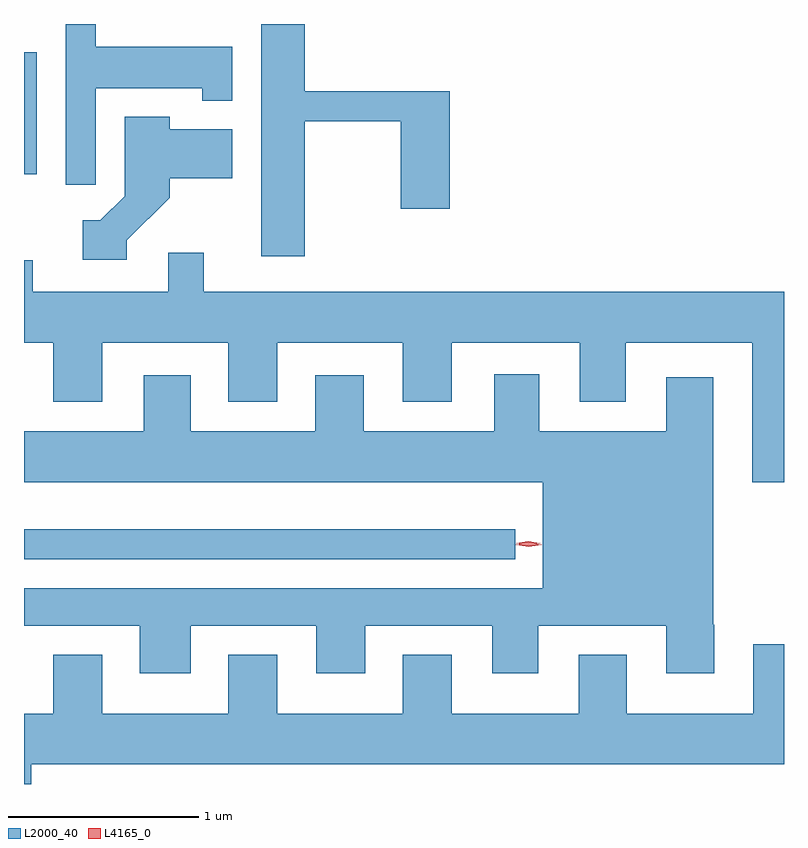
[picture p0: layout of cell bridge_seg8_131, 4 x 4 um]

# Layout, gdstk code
import gdstk
lib = gdstk.Library(unit=1e-6, precision=1e-09)
def R(c, l, rs):  # rectangles x0, y0, x1, y1
    for r in rs: c.add(gdstk.rectangle(r[:2], r[2:], *l))
def P(c, l, *ps):  # polygons
    for p in ps: c.add(gdstk.Polygon(p, *l))
L2000_40 = (2000, 40)
L4165_0 = (4165, 0)

bridge_seg8_131 = lib.new_cell('bridge_seg8_131')
R(bridge_seg8_131, L2000_40, [(1824.262,1828.616,1826.848,1828.774), (1824.262,1830.641,1824.329,1831.284)])
P(bridge_seg8_131, L2000_40, [(1824.639,1831.096),(1825.201,1831.096),(1825.201,1831.028),(1825.359,1831.028),(1825.359,1831.314),(1824.639,1831.314),(1824.639,1831.433),(1824.481,1831.433),(1824.481,1830.588),(1824.639,1830.588)],
  [(1825.739,1830.921),(1826.246,1830.921),(1826.246,1830.461),(1826.504,1830.461),(1826.504,1831.079),(1825.739,1831.079),(1825.739,1831.433),(1825.511,1831.433),(1825.511,1830.211),(1825.739,1830.211)],
  [(1824.804,1830.294),(1825.029,1830.519),(1825.029,1830.621),(1825.359,1830.621),(1825.359,1830.879),(1825.029,1830.879),(1825.029,1830.944),(1824.791,1830.944),(1824.791,1830.527),(1824.664,1830.399),(1824.571,1830.399),(1824.571,1830.191),(1824.804,1830.191)],
  [(1828.262,1830.024),(1825.209,1830.024),(1825.209,1830.229),(1825.021,1830.229),(1825.021,1830.024),(1824.309,1830.024),(1824.309,1830.189),(1824.262,1830.189),(1824.262,1829.756),(1824.416,1829.756),(1824.416,1829.446),(1824.674,1829.446),(1824.674,1829.756),(1825.336,1829.756),(1825.336,1829.446),(1825.594,1829.446),(1825.594,1829.756),(1826.256,1829.756),(1826.256,1829.446),(1826.514,1829.446),(1826.514,1829.756),(1827.186,1829.756),(1827.186,1829.446),(1827.429,1829.446),(1827.429,1829.756),(1828.096,1829.756),(1828.096,1829.021),(1828.262,1829.021)],
  [(1825.139,1828.266),(1825.801,1828.266),(1825.801,1828.016),(1826.059,1828.016),(1826.059,1828.266),(1826.726,1828.266),(1826.726,1828.016),(1826.969,1828.016),(1826.969,1828.266),(1827.641,1828.266),(1827.641,1828.016),(1827.894,1828.016),(1827.894,1828.27),(1827.889,1828.27),(1827.889,1829.574),(1827.641,1829.574),(1827.641,1829.289),(1826.974,1829.289),(1826.974,1829.589),(1826.736,1829.589),(1826.736,1829.289),(1826.049,1829.289),(1826.049,1829.584),(1825.796,1829.584),(1825.796,1829.289),(1825.139,1829.289),(1825.139,1829.584),(1824.891,1829.584),(1824.891,1829.289),(1824.262,1829.289),(1824.262,1829.021),(1826.991,1829.021),(1826.991,1828.464),(1824.262,1828.464),(1824.262,1828.266),(1824.871,1828.266),(1824.871,1828.016),(1825.139,1828.016)],
  [(1824.299,1827.536),(1828.262,1827.536),(1828.262,1828.169),(1828.101,1828.169),(1828.101,1827.804),(1827.434,1827.804),(1827.434,1828.114),(1827.181,1828.114),(1827.181,1827.804),(1826.514,1827.804),(1826.514,1828.114),(1826.256,1828.114),(1826.256,1827.804),(1825.594,1827.804),(1825.594,1828.114),(1825.336,1828.114),(1825.336,1827.804),(1824.674,1827.804),(1824.674,1828.114),(1824.416,1828.114),(1824.416,1827.804),(1824.262,1827.804),(1824.262,1827.433),(1824.299,1827.433)])
P(bridge_seg8_131, L4165_0, [(1826.915,1828.69),(1826.853,1828.699),(1826.853,1828.699),(1826.853,1828.7),(1826.915,1828.71),(1826.977,1828.7),(1826.978,1828.7),(1826.977,1828.699)],
  [(1826.918,1828.682),(1826.85,1828.691),(1826.849,1828.692),(1826.85,1828.692),(1826.919,1828.702),(1826.987,1828.692),(1826.988,1828.692),(1826.987,1828.691)])

lib.write_gds('bridge_seg8_131.gds')
